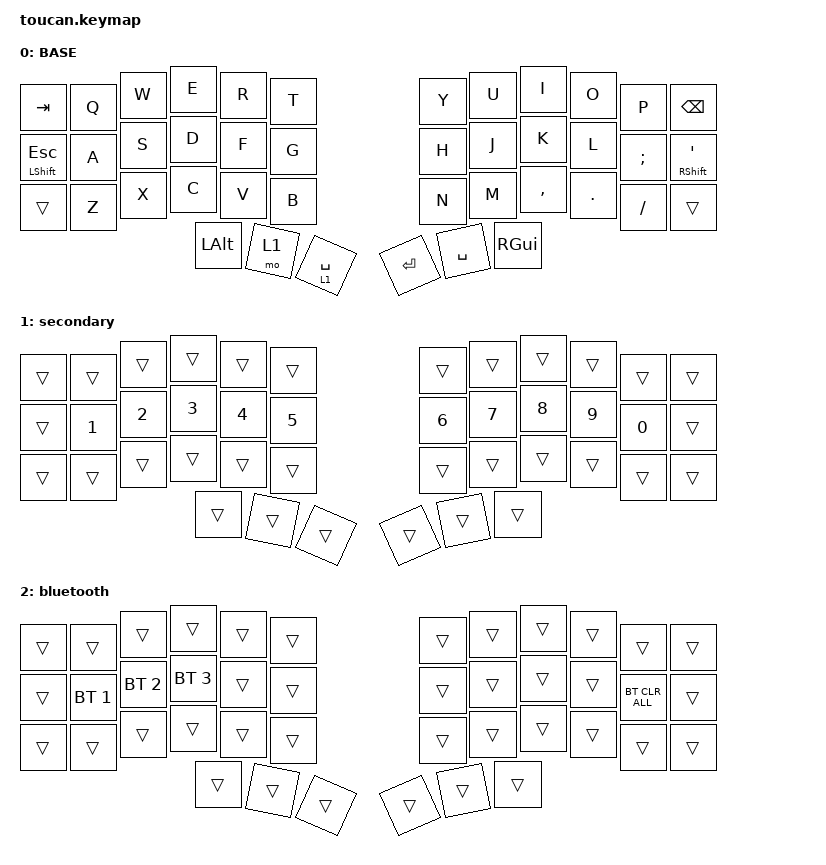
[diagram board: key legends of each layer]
#include <behaviors.dtsi>
#include <dt-bindings/zmk/bt.h>
#include <dt-bindings/zmk/keys.h>

#define BASE 0
#define NAV  1
#define SYM  2
#define ADJ  3

/ {
    conditional_layers { compatible = "zmk,conditional-layers"; };

    combos {
        compatible = "zmk,combos";

        exclamation {
            bindings = <&kp EXCLAMATION>;
            key-positions = <5 17>;
            timeout-ms = <80>;
            require-prior-idle-ms = <50>;
        };

        left_par {
            bindings = <&kp LEFT_PARENTHESIS>;
            key-positions = <4 16>;
            timeout-ms = <80>;
            require-prior-idle-ms = <50>;
        };

        right_par {
            bindings = <&kp RIGHT_PARENTHESIS>;
            key-positions = <19 7>;
            timeout-ms = <80>;
            require-prior-idle-ms = <50>;
        };

        right_curly {
            bindings = <&kp RIGHT_BRACE>;
            key-positions = <20 8>;
            timeout-ms = <80>;
            require-prior-idle-ms = <50>;
        };

        left_curly {
            bindings = <&kp LEFT_BRACE>;
            key-positions = <3 15>;
            timeout-ms = <80>;
            require-prior-idle-ms = <50>;
        };

        left_bracket {
            bindings = <&kp LEFT_BRACKET>;
            key-positions = <2 14>;
            timeout-ms = <80>;
            require-prior-idle-ms = <50>;
        };

        right_bracket {
            bindings = <&kp RIGHT_BRACKET>;
            key-positions = <9 21>;
            timeout-ms = <80>;
            require-prior-idle-ms = <50>;
        };

        pipe {
            bindings = <&kp PIPE>;
            key-positions = <6 18>;
            timeout-ms = <80>;
            require-prior-idle-ms = <50>;
        };

        enter {
            bindings = <&kp ENTER>;
            key-positions = <19 31>;
            timeout-ms = <50>;
            require-prior-idle-ms = <50>;
        };

        escape {
            bindings = <&kp ESCAPE>;
            key-positions = <16 28>;
            timeout-ms = <50>;
            require-prior-idle-ms = <50>;
        };

        num {
            bindings = <&kp HASH>;
            key-positions = <30 31>;
            timeout-ms = <80>;
            require-prior-idle-ms = <180>;
        };

        minus {
            bindings = <&kp KP_MINUS>;
            key-positions = <19 18>;
            timeout-ms = <80>;
            require-prior-idle-ms = <180>;
        };

        plus {
            bindings = <&kp PLUS>;
            key-positions = <17 16>;
            timeout-ms = <80>;
            require-prior-idle-ms = <180>;
        };

        underscore {
            bindings = <&kp UNDERSCORE>;
            key-positions = <19 20>;
            timeout-ms = <80>;
            require-prior-idle-ms = <115>;
        };

        semicolon {
            bindings = <&kp SEMICOLON>;
            key-positions = <32 33>;
            timeout-ms = <80>;
            require-prior-idle-ms = <180>;
        };

        right_control {
            bindings = <&kp RIGHT_CONTROL>;
            key-positions = <20 21>;
            timeout-ms = <80>;
            require-prior-idle-ms = <115>;
        };

        left_control {
            bindings = <&kp LEFT_CONTROL>;
            key-positions = <15 14>;
            timeout-ms = <80>;
            require-prior-idle-ms = <115>;
        };

        tilde {
            bindings = <&kp TILDE>;
            key-positions = <28 29>;
            timeout-ms = <80>;
            require-prior-idle-ms = <180>;
        };

        at {
            bindings = <&kp AT>;
            key-positions = <5 13>;
            require-prior-idle-ms = <150>;
            timeout-ms = <50>;
        };

        dollar {
            bindings = <&kp DOLLAR>;
            key-positions = <15 21>;
            require-prior-idle-ms = <150>;
            timeout-ms = <50>;
        };

        percent {
            bindings = <&kp PERCENT>;
            key-positions = <3 16>;
            require-prior-idle-ms = <150>;
            timeout-ms = <50>;
        };

        caret {
            bindings = <&kp CARET>;
            key-positions = <9 8 19>;
            require-prior-idle-ms = <150>;
            timeout-ms = <50>;
        };

        forward_slash {
            bindings = <&kp SLASH>;
            key-positions = <19 8>;
            require-prior-idle-ms = <150>;
            timeout-ms = <50>;
        };

        backslash {
            bindings = <&kp BACKSLASH>;
            key-positions = <9 8>;
            require-prior-idle-ms = <150>;
            timeout-ms = <50>;
        };

        and {
            bindings = <&kp AMPERSAND>;
            key-positions = <30 15>;
            require-prior-idle-ms = <150>;
            timeout-ms = <50>;
        };

        star {
            bindings = <&kp ASTERISK>;
            key-positions = <5 14>;
            require-prior-idle-ms = <150>;
            timeout-ms = <50>;
        };

        equal {
            bindings = <&kp KP_EQUAL>;
            key-positions = <16 19>;
            require-prior-idle-ms = <50>;
            timeout-ms = <100>;
        };

        quote {
            bindings = <&kp DOUBLE_QUOTES>;
            key-positions = <19 21>;
            require-prior-idle-ms = <150>;
            timeout-ms = <50>;
        };

        single_quote {
            bindings = <&kp SINGLE_QUOTE>;
            key-positions = <31 33>;
            require-prior-idle-ms = <150>;
            timeout-ms = <50>;
        };

        backtick {
            bindings = <&kp GRAVE>;
            key-positions = <7 9>;
            require-prior-idle-ms = <150>;
            timeout-ms = <50>;
        };

        bluetooth {
            bindings = <&mo 2>;
            key-positions = <24 35>;
            layers = <0>;
        };

        colon {
            bindings = <&kp COLON>;
            key-positions = <15 20>;
            timeout-ms = <100>;
            require-prior-idle-ms = <50>;
        };
    };

    keymap {
        compatible = "zmk,keymap";

        base {
            display-name = "BASE";
            bindings = <
&kp TAB  &kp Q  &kp W  &kp E  &kp R  &kp T  &kp Y  &kp U  &kp I  &kp O  &kp P  &kp BSPC  &mt LEFT_SHIFT ESCAPE  &kp A  &kp S  &kp D  &kp F  &kp G  &kp H  &kp J  &kp K  &kp L  &kp SEMI  &mt RIGHT_SHIFT SINGLE_QUOTE  &trans  &kp Z  &kp X  &kp C  &kp V  &kp B  &kp N  &kp M  &kp COMMA  &kp DOT  &kp FSLH  &trans  &kp LEFT_ALT  &mo 1  &lt 1 SPACE  &kp ENTER  &kp SPACE  &kp RIGHT_GUI
            >;
        };

        secondary {
            bindings = <
&trans  &trans  &trans  &trans  &trans  &trans  &trans  &trans  &trans  &trans  &trans  &trans  &trans  &kp NUMBER_1  &kp NUMBER_2  &kp NUMBER_3  &kp NUMBER_4  &kp NUMBER_5  &kp NUMBER_6  &kp NUMBER_7  &kp NUMBER_8  &kp NUMBER_9  &kp NUMBER_0  &trans  &trans  &trans  &trans  &trans  &trans  &trans  &trans  &trans  &trans  &trans  &trans  &trans  &trans  &trans  &trans  &trans  &trans  &trans
            >;
        };

        bluetooth {
            bindings = <
&trans  &trans  &trans  &trans  &trans  &trans  &trans  &trans  &trans  &trans  &trans  &trans  &trans  &bt BT_SEL 1  &bt BT_SEL 2  &bt BT_SEL 3  &trans  &trans  &trans  &trans  &trans  &trans  &bt BT_CLR_ALL  &trans  &trans  &trans  &trans  &trans  &trans  &trans  &trans  &trans  &trans  &trans  &trans  &trans  &trans  &trans  &trans  &trans  &trans  &trans
            >;
        };
    };
};
